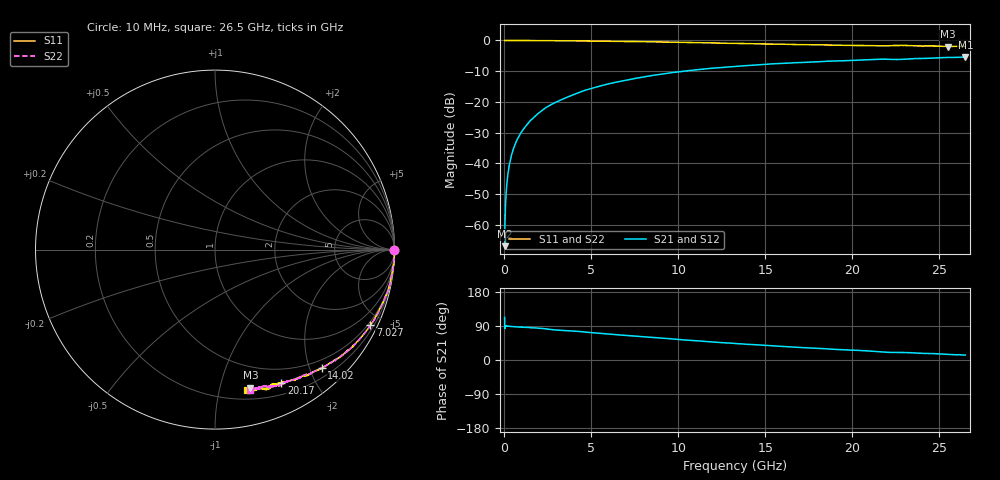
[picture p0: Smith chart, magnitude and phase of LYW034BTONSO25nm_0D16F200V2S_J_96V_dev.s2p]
!Keysight Technologies,N5222B,MY61253708,A.15.00.15
!Date: Wednesday, June 19, 2024 09:34:54
!Correction: S11(C  2-Port  )
!S21(C  2-Port  )
!S12(C  2-Port  )
!S22(C  2-Port  )
!S2P File: Measurements: S11, S21, S12, S22:
# Hz S  RI  R 50
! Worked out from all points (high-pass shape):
!   2651 points, 10 MHz to 26.5 GHz, reference 50 ohm
!   highest |S21| = -5.38 dB at 26.5 GHz (marker M1); lowest = -67.0 dB at 10 MHz (marker M2)
!   |S21| within 3 dB of the highest: 13.41206 GHz to 13.42195 GHz (9.89 MHz wide, 0.0737 % of centre); 13.43 GHz to end of sweep
!   lowest |S11| = -2.0 dB at 25.5 GHz (marker M3), VSWR 8.73, Z = 14.9 - j62.2 ohm
!   |S11| at or under -10 dB: nowhere
!   |S22| runs from -1.9 to 0.0 dB; largest |S21 - S12| = 0.0067
!   S11 on the Smith chart (normalised r, x): 10 MHz: open; 7.027 GHz: 0.37, -4.31; 14.02 GHz: 0.35, -2.20; 20.17 GHz: 0.33, -1.56; 26.5 GHz: 0.27, -1.22
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1e7  0.9986 -0.00281  -0.000172 0.000411  1.92e-05 0.000126  0.9983 -0.000859
7.997358e7  0.9999 -0.00578  -1.94e-05 0.00269  -4.78e-06 0.00269  0.9994 -0.00519
1.499472e8  0.9999 -0.011  3.29e-05 0.00496  3.85e-05 0.00503  0.9996 -0.0102
1.799358e8  0.9999 -0.0122  6.16e-05 0.00598  7.14e-05 0.00605  0.9996 -0.0115
2.29917e8  0.9996 -0.0161  0.000123 0.00767  0.000106 0.00771  0.9993 -0.015
3.19883e8  0.9995 -0.0217  0.00025 0.0106  0.00026 0.0107  0.9994 -0.0205
4.398377e8  0.9991 -0.03  0.000443 0.0146  0.000439 0.0147  0.9993 -0.029
5.897811e8  0.9985 -0.0398  0.00075 0.0196  0.000704 0.0197  0.9989 -0.0388
7.797094e8  0.9983 -0.0522  0.00132 0.0258  0.00137 0.026  0.9979 -0.0515
1.419468e9  0.9905 -0.0967  0.00328 0.0468  0.0034 0.0471  0.9934 -0.0927
2.319128e9  0.9817 -0.1519  0.00989 0.0776  0.0102 0.0782  0.9831 -0.1518
3.148815e9  0.9705 -0.2051  0.0206 0.1026  0.0208 0.1033  0.972 -0.2032
4.428332e9  0.9417 -0.2819  0.0388 0.1421  0.0392 0.1431  0.944 -0.2781
7.027351e9  0.866 -0.4215  0.0971 0.2049  0.0985 0.2058  0.869 -0.4192
8.846664e9  0.8005 -0.5039  0.146 0.2372  0.1478 0.2379  0.8035 -0.5007
1.3255e10  0.6233 -0.6432  0.2737 0.2609  0.2764 0.2606  0.6294 -0.6405
1.402471e10  0.5943 -0.661  0.294 0.2586  0.296 0.2584  0.5985 -0.6568
1.767333e10  0.4508 -0.7211  0.3798 0.2325  0.3835 0.2307  0.4642 -0.7182
2.017239e10  0.3696 -0.7443  0.4281 0.2057  0.431 0.2028  0.386 -0.7432
2.209166e10  0.3157 -0.7527  0.4621 0.1701  0.4642 0.167  0.313 -0.7593
2.550038e10  0.1971 -0.7695  0.5109 0.1334  0.5124 0.1326  0.2203 -0.7736
2.65e10  0.1779 -0.7839  0.5244 0.1223  0.524 0.118  0.1939 -0.7832
